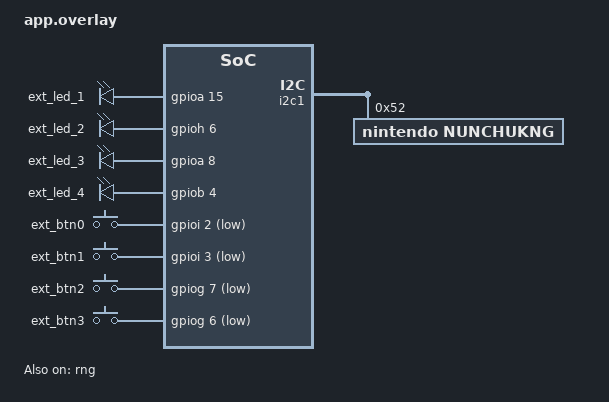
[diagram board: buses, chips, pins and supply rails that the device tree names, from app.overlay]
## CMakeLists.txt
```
cmake_minimum_required(VERSION 3.13.1)
find_package(Zephyr REQUIRED HINTS $ENV{ZEPHYR_BASE})

project(app LANGUAGES C)

target_sources(app PRIVATE
        src/main.c
        src/blinky.h src/blinky.c
        src/time.h src/time.c
        src/nunchuk.h src/nunchuk.c
        src/chat.h src/chat.c
)

target_include_directories(app PRIVATE ${ZEPHYR_BASE}/include/zephyr/portability)
```

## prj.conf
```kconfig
# Enable all debug helpers
CONFIG_DEBUG_OPTIMIZATIONS=y
CONFIG_DEBUG_THREAD_INFO=y
CONFIG_ASSERT=y
CONFIG_ASSERT_LEVEL=2
CONFIG_ASSERT_VERBOSE=y
CONFIG_INIT_STACKS=y

# Configure logging
CONFIG_LOG=y
CONFIG_LOG_INFO_COLOR_GREEN=y
CONFIG_LOG_DBG_COLOR_BLUE=y
CONFIG_LOG_TIMESTAMP_64BIT=y
CONFIG_LOG_OUTPUT_FORMAT_LINUX_TIMESTAMP=y

# Enable shell
CONFIG_SHELL=y

# Configure heap memory
CONFIG_HEAP_MEM_POOL_SIZE=180000

# Enable and configure CMSIS-RTOS v2 compatibility layer
CONFIG_CMSIS_RTOS_V2=y
CONFIG_CMSIS_V2_THREAD_MAX_STACK_SIZE=1024
CONFIG_CMSIS_V2_THREAD_DYNAMIC_STACK_SIZE=1024
CONFIG_CMSIS_V2_THREAD_DYNAMIC_MAX_COUNT=8
CONFIG_CMSIS_V2_MEM_SLAB_MAX_DYNAMIC_SIZE=8096
CONFIG_CMSIS_V2_MSGQ_MAX_DYNAMIC_SIZE=1024

# Configure multithreading
CONFIG_NUM_PREEMPT_PRIORITIES=56
CONFIG_MULTITHREADING=y
CONFIG_THREAD_NAME=y
CONFIG_THREAD_MONITOR=y
CONFIG_THREAD_STACK_INFO=y

# Enable SRTP2 stack
CONFIG_SRTP2=y

# Enable GPIOs
CONFIG_GPIO=y

# Enable L2 (Ethernet) networking.
CONFIG_NETWORKING=y
CONFIG_NET_NATIVE=y
CONFIG_NET_DRIVERS=y
CONFIG_NET_L2_ETHERNET=y
CONFIG_NET_SOCKETS=y
CONFIG_NET_SOCKETS_PACKET=y
CONFIG_ENTROPY_GENERATOR=y
CONFIG_ENTROPY_STM32_RNG=y

# Enable input drivers and nunchuck
CONFIG_INPUT=y
CONFIG_INPUT_MODE_SYNCHRONOUS=y
CONFIG_INPUT_NUNCHUKNG=y

# Enable clock API.
CONFIG_POSIX_TIMERS=y
```

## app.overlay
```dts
&i2c1 {
	nunchukng: nunchukng@52 {
		reg = <0x52>;
		compatible = "nintendo,nunchukng";
		polling-interval-ms = <0>;
	};
};

&mac {
	local-mac-address = [ 00 80 E1 44 55 02 ];
	/delete-property/ zephyr,random-mac-address;
};

&rng {
	status = "okay";
};

&ft5336 {
	status = "disabled";
};

/ {
	aliases {
		extled0 = &ext_led_1;
		extled1 = &ext_led_2;
		extled2 = &ext_led_3;
		extled3 = &ext_led_4;
	};

	leds {
		compatible = "gpio-leds";

		ext_led_1: led_1 {
			gpios = <&gpioa 15 GPIO_ACTIVE_HIGH>;
		};

		ext_led_2: led_2 {
			gpios = <&gpioh 6 GPIO_ACTIVE_HIGH>;
		};

		ext_led_3: led_3 {
			gpios = <&gpioa 8 GPIO_ACTIVE_HIGH>;
		};

		ext_led_4: led_4 {
			gpios = <&gpiob 4 GPIO_ACTIVE_HIGH>;
		};
	};

	buttons {
        compatible = "gpio-keys";

        ext_btn0: btn0 {
            gpios = <&gpioi 2 (GPIO_PULL_UP | GPIO_ACTIVE_LOW)>;
            zephyr,code = <INPUT_BTN_0>;
        };

        ext_btn1: btn1 {
            gpios = <&gpioi 3 (GPIO_PULL_UP | GPIO_ACTIVE_LOW)>;
            zephyr,code = <INPUT_BTN_1>;
        };

        ext_btn2: btn2 {
            gpios = <&gpiog 7 (GPIO_PULL_UP | GPIO_ACTIVE_LOW)>;
            zephyr,code = <INPUT_BTN_2>;
        };

        ext_btn3: btn3 {
            gpios = <&gpiog 6 (GPIO_PULL_UP | GPIO_ACTIVE_LOW)>;
            zephyr,code = <INPUT_BTN_3>;
        };
    };
};
```

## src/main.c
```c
#include <srtp2.h>
#include "blinky.h"
#include "time.h"
#include "nunchuk.h"
#include "chat.h"
#include <zephyr/net/net_if.h>

int main(void) {
	// Initialize the SRTP2 protocol stack.
	SRTP2_init(net_if_get_default());

	// Initialize all applications.
	Blinky_init();
    Time_init();
    Nunchuk_init();
	Chat_init();
	return 0;
}
```

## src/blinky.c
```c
#include "blinky.h"
#include <zephyr/drivers/gpio.h>
#include <cmsis_os2.h>
#include <zephyr/logging/log.h>

LOG_MODULE_REGISTER(blinky, LOG_LEVEL_INF);

static const struct gpio_dt_spec ld0_ = GPIO_DT_SPEC_GET(DT_ALIAS(extled0), gpios);

static void Blinky_threadFunction_(void*);

void Blinky_init() {
    // Check if the GPIO is ready.
    if (!gpio_is_ready_dt(&ld0_)) {
        LOG_ERR("GPIO not ready");
        return;
    }

    // Configure the GPIO.
    gpio_pin_configure_dt(&ld0_, GPIO_OUTPUT_ACTIVE);

    // Start the thread.
    osThreadAttr_t blinkyThreadAttributes = {
        .name = "Blinky",
        .priority = osPriorityBelowNormal
    };
    if (osThreadNew(Blinky_threadFunction_, &blinkyThreadAttributes, NULL) <= 0) {
        LOG_ERR("failed to create thread");
    }

    LOG_INF("application started");
}

static void Blinky_threadFunction_(void*) {
    // Get the tick frequency.
    uint32_t freq = osKernelGetTickFreq();

    // Toggle the LED with a frequency of 2 Hz.
    while (true) {
        gpio_pin_toggle_dt(&ld0_);
        osDelay(250 * freq / 1000);
    }
}
```

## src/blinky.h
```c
#pragma once

/**
 * @brief Initializes the Blinky application.
 *
 * This function configures the GPIO for the LED, starts the Blinky thread, and logs the initialization status.
 *
 * It first checks if the GPIO device tree specification is ready. If the GPIO is not ready, an error is logged, and the function terminates without further
 * execution.
 *
 * After confirming the GPIO is ready, it configures the GPIO pin as an active output. Then, it creates a thread to handle the Blinky behavior using the
 * specified thread name and priority. If the thread creation fails, an error is logged.
 *
 * Upon successful initialization, a log message indicates that the application has started.
 */
void Blinky_init();
```

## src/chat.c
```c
#include "chat.h"
#include <srtp2.h>
#include <stdlib.h>
#include <zephyr/shell/shell.h>
#include <zephyr/logging/log.h>
#include <zephyr/drivers/gpio.h>

LOG_MODULE_REGISTER(chat, LOG_LEVEL_INF);

static const struct gpio_dt_spec ld3_ = GPIO_DT_SPEC_GET(DT_ALIAS(extled3), gpios);

static const uint16_t SAPI_ = 1;
enum {
    MAX_MESSAGE_SIZE_ = 512,
};

static int Chat_command_(const struct shell* sh, size_t argc, char** argv);
static void Chat_messageConfirmation_(SRTP2_Status_t status, SRTP2_CallbackContext_t context);
static void Chat_messageIndication_(SRTP2_MsgAddress_t sourceAddress, SRTP2_MsgSAPI_t destinationSapi, SRTP2_MsgSAPI_t sourceSapi,
    SRTP2_MsgPayloadPointer_t payload, SRTP2_MsgPayloadLength_t length, SRTP2_CallbackContext_t context);

void Chat_init() {
    // Check if the GPIO is ready.
    if (!gpio_is_ready_dt(&ld3_)) {
        LOG_ERR("GPIO not ready");
        return;
    }

    // Configure the GPIO.
    gpio_pin_configure_dt(&ld3_, GPIO_OUTPUT_ACTIVE);
    gpio_pin_set_dt(&ld3_, 0);

    // Register chat message listener.
    if (SRTP2_msgListenRequest(SAPI_, Chat_messageIndication_, NULL) != SRTP2_OK) {
        LOG_ERR("failed to register message listener");
    }

    // Register shell command "chat".
    SHELL_CMD_ARG_REGISTER(chat, NULL, "Send a chat message over SRTP2.\n" "Usage: chat <mac> <\"Text Message\">", Chat_command_, 3, 3);

    LOG_INF("application started");
}

static int Chat_command_(const struct shell* sh, size_t argc, char** argv) {
    // Check that we have exactly 3 arguments, the command, the destination MAC address and the message.
    if (argc != 3) {
        shell_error(sh, "Usage: chat <mac> <\"Text Message\">");
        return -EINVAL;
    }

    // Parse the MAC Address
    uint8_t mac[6];
    if (sscanf(argv[1], "%hhx:%hhx:%hhx:%hhx:%hhx:%hhx",
        &mac[0], &mac[1], &mac[2], &mac[3], &mac[4], &mac[5]) != 6) {
        shell_error(sh, "Invalid MAC address format. Please use XX:XX:XX:XX:XX:XX");
        return -EINVAL;
    }

    // Send message.
    SRTP2_msgDataRequest(mac, SAPI_, SAPI_, argv[2], strlen(argv[2]), Chat_messageConfirmation_, NULL);

    return 0;
}

static void Chat_messageConfirmation_(SRTP2_Status_t status, SRTP2_CallbackContext_t context) {
    if (status == SRTP2_OK) {
        LOG_INF("message sent successfully");
    }
    else {
        LOG_ERR("failed to send message");
    }
}

static void Chat_messageIndication_(SRTP2_MsgAddress_t sourceAddress, SRTP2_MsgSAPI_t destinationSapi, SRTP2_MsgSAPI_t sourceSapi,
    SRTP2_MsgPayloadPointer_t payload, SRTP2_MsgPayloadLength_t length, SRTP2_CallbackContext_t context) {

    // Copy message to a null-terminated buffer.
    static char buffer[MAX_MESSAGE_SIZE_ + 1];
    memcpy(buffer, payload, length);
    buffer[length] = '\0';

    // Notify user that the message was received.
    LOG_INF("Received Message from %d: %s", sourceAddress[5], buffer);

    // Handle LED commands.
    if (strncmp(payload, "led on", length) == 0) {
        gpio_pin_set_dt(&ld3_, true);
    }
    else if (strncmp(payload, "led off", length) == 0) {
        gpio_pin_set_dt(&ld3_, false);
    }
    else if (strncmp(payload, "led toggle", length) == 0) {
        gpio_pin_toggle_dt(&ld3_);
    }
}
```

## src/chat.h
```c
#pragma once

/**
 * @brief Initializes the Chat module for the application.
 *
 * This function sets up the Chat module by performing the following steps:
 * - Checks if the GPIO associated with the external LED (ld3) is ready for use.
 * - Configures the GPIO pin as an active output and initializes it to a low state.
 * - Registers a callback function `Chat_messageIndication` to handle incoming SRTP2 messages on the specified SAPI.
 * - Registers a shell command named "chat" that allows users to send a chat message over the SRTP2 protocol. The command must be invoked with specific
 *   arguments.
 *
 * If any initialization step fails (e.g., GPIO is not ready, message listener registration  fails), the corresponding error is logged, and initialization
 * stops.
 *
 * To send a message, you can use the `chat` shell command. The syntax is `char <mac> <"Text message">`. For example you can send the message "Hello World!" to
 * all nodes on the network using `char ff:ff:ff:ff:ff:ff "Hello World!"`.
 *
 * Additionally, the chat application can be used to control LD4 on the HEI Discovery board. Sending the command `led on` will turn the LED on, sending
 * `led off` will turn the LED off and sending `led toggle` will toggle the LED state.
 */
void Chat_init();
```

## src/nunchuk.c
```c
#include "nunchuk.h"
#include <srtp2.h>
#include <zephyr/input/input.h>
#include <zephyr/logging/log.h>
#include <input_nunchuk.h>

LOG_MODULE_REGISTER(nunchuk, LOG_LEVEL_INF);

#pragma pack(push, 1)
typedef struct {
    uint8_t x;
    uint8_t y;
} Nunchuk_JoystickPosition_t;

typedef struct {
    uint16_t x;
    uint16_t y;
    uint16_t z;
} Nunchuk_Acceleration_t;
#pragma pack(pop)

static const struct device* nunchukDevice_ = DEVICE_DT_GET(DT_NODELABEL(nunchukng));

static bool ready_ = false;
static Nunchuk_JoystickPosition_t joystickPosition_;
static Nunchuk_Acceleration_t acceleration_;

enum {
    NUNCHUK_JOYSTICK_SV_GROUP_ = 0,
    NUNCHUK_ACCELERATION_SV_GROUP_ = 1,
    EV_BUTTON_PRESSED_ = 0,
    EV_BUTTON_RELEASED_ = 1,
    NUNCHUK_Z_BUTTON_ID_ = 0,
    NUNCHUK_C_BUTTON_ID_ = 1,
    BTN0_ID_ = 2,
    BTN1_ID_ = 3,
    BTN2_ID_ = 4,
    BTN3_ID_ = 5,
    INVALID_BUTTON_ID = 0xFF
};

static void Nunchuk_syncIndication_(SRTP2_NetworkID_t, SRTP2_NetworkTime_t, SRTP2_CycleInterval_t, SRTP2_CallbackContext_t);

void Nunchuk_init() {
    // Initialize
    joystickPosition_.x = 127;
    joystickPosition_.y = 127;
    acceleration_.x = 0;
    acceleration_.y = 0;
    acceleration_.z = 0;

    // Register for synchronization.
    if (SRTP2_syncRequest(Nunchuk_syncIndication_, NULL) != SRTP2_OK) {
        LOG_ERR("failed to register sync request");
        return;
    }

    // Register to publish sampled values for Nunchuk joystick position.
    if (SRTP2_svPublishRequest(NUNCHUK_JOYSTICK_SV_GROUP_, sizeof(Nunchuk_JoystickPosition_t)) != SRTP2_OK) {
        LOG_ERR("failed to register SV group for nunchuk joystick position");
        return;
    }

    // Register to publish sampled values for Nunchuk acceleration.
    if (SRTP2_svPublishRequest(NUNCHUK_ACCELERATION_SV_GROUP_, sizeof(Nunchuk_Acceleration_t)) != SRTP2_OK) {
        LOG_ERR("failed to register SV group for nunchuk acceleration");
        return;
    }

    ready_ = true;
    LOG_INF("application started");
}

void Nunchuk_onInputEvent_(struct input_event* evt, void*) {
    // Ignore any input as long as the application is not ready.
    if (!ready_) return;

    // Handle the different event types.
    switch (evt->type) {
    case INPUT_EV_KEY: {
        uint8_t buttonID = 0;
        switch (evt->code) {
        case INPUT_BTN_Z:
            buttonID = NUNCHUK_Z_BUTTON_ID_;
            break;

        case INPUT_BTN_C:
            buttonID = NUNCHUK_C_BUTTON_ID_;
            break;

        case INPUT_BTN_0:
            buttonID = BTN0_ID_;
            break;

        case INPUT_BTN_1:
            buttonID = BTN1_ID_;
            break;

        case INPUT_BTN_2:
            buttonID = BTN2_ID_;
            break;

        case INPUT_BTN_3:
            buttonID = BTN3_ID_;
            break;

        default:
            buttonID = INVALID_BUTTON_ID;
            LOG_ERR("unknown button event");
        }

        if (buttonID != INVALID_BUTTON_ID) {
            SRTP2_evPublishRequest(evt->value ? EV_BUTTON_PRESSED_ : EV_BUTTON_RELEASED_, &buttonID, 1);
        }
        break;
    }

    case INPUT_EV_ABS:
        switch (evt->code) {
        case INPUT_ABS_X:
            LOG_DBG("X = %u", evt->value);
            joystickPosition_.x = evt->value;
            SRTP2_svPublishUpdate(NUNCHUK_JOYSTICK_SV_GROUP_, &joystickPosition_, sizeof(joystickPosition_));
            break;

        case INPUT_ABS_Y:
            LOG_DBG("Y = %u", evt->value);
            joystickPosition_.y = evt->value;
            SRTP2_svPublishUpdate(NUNCHUK_JOYSTICK_SV_GROUP_, &joystickPosition_, sizeof(joystickPosition_));
            break;

        default:
            LOG_ERR("unknown joystick axis");
        }
        break;

    case INPUT_EV_DEVICE:
        switch (evt->code) {
        case INPUT_NUNCHUK_ACCEL_X:
            acceleration_.x = evt->value;
            break;

        case INPUT_NUNCHUK_ACCEL_Y:
            acceleration_.y = evt->value;
            break;

        case INPUT_NUNCHUK_ACCEL_Z:
            acceleration_.z = evt->value;
            SRTP2_svPublishUpdate(NUNCHUK_ACCELERATION_SV_GROUP_, &acceleration_, sizeof(acceleration_));
            break;
        }
        break;

    default:
        LOG_ERR("unknown input event");
        break;
    }
}

static void Nunchuk_syncIndication_(SRTP2_NetworkID_t, SRTP2_NetworkTime_t, SRTP2_CycleInterval_t, SRTP2_CallbackContext_t) {
    // Trigger the readout of the Nunchuk input device.
    nunchuk_read(nunchukDevice_);
}

// Register global input callback.
INPUT_CALLBACK_DEFINE(NULL, Nunchuk_onInputEvent_, NULL);
```

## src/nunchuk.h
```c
#pragma once

/**
 * @brief Initializes the Nunchuk application module.
 *
 * This function performs the following operations to initialize the Nunchuk module:
 * - Sets the default state of the joystick position to the center (127, 127).
 * - Resets the acceleration values to zero for all axes.
 * - Registers a synchronization request callback using the SRTP2_syncRequest() function.
 * - Publishes sampled values (SV) groups for joystick position (0) and acceleration (1) using the SRTP2_svPublishRequest() function.
 * - Sets the `ready` flag to true, indicating that the application has initialized successfully.
 *
 * In case of any failure during the initialization process (e.g., failing to register a sync request or publish SV groups), an error is logged, and
 * the function returns without completing initialization.
 */
void Nunchuk_init();
```

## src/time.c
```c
#include "time.h"
#include <srtp2.h>
#include <zephyr/drivers/gpio.h>
#include <cmsis_os2.h>
#include <zephyr/logging/log.h>
#include <time.h>
#include <zephyr/logging/log_ctrl.h>

LOG_MODULE_REGISTER(time, LOG_LEVEL_INF);

static const struct gpio_dt_spec ld1_ = GPIO_DT_SPEC_GET(DT_ALIAS(extled1), gpios);
static const struct gpio_dt_spec ld2_ = GPIO_DT_SPEC_GET(DT_ALIAS(extled2), gpios);

static bool ledState_ = false;

static void Time_syncIndication_(SRTP2_NetworkID_t, SRTP2_NetworkTime_t, SRTP2_CycleInterval_t, SRTP2_CallbackContext_t);
static log_timestamp_t Time_getSystemTime_();

void Time_init() {
    // Check if the GPIO is ready.
    if (!gpio_is_ready_dt(&ld1_)) {
        LOG_ERR("GPIO not ready");
        return;
    }

    // Configure the GPIO.
    gpio_pin_configure_dt(&ld1_, GPIO_OUTPUT_ACTIVE);
    gpio_pin_configure_dt(&ld2_, GPIO_OUTPUT_ACTIVE);

    gpio_pin_set_dt(&ld1_, 0);
    gpio_pin_set_dt(&ld2_, 0);

    // Register sync service at SRTP2 stack.
    SRTP2_Status_t status = SRTP2_syncRequest(Time_syncIndication_, NULL);
    if (status != SRTP2_OK) {
        LOG_ERR("sync request failed");
    }

    // Register custom log time format function.
    log_set_timestamp_func(Time_getSystemTime_, 1000);

    LOG_INF("application started.");
}

static void Time_syncIndication_(SRTP2_NetworkID_t networkID, SRTP2_NetworkTime_t networkTime, SRTP2_CycleInterval_t cycleInterval,
    SRTP2_CallbackContext_t context) {

    // Check drift and update system clock if required.
    struct timespec ts;
    if (sys_clock_gettime(SYS_CLOCK_REALTIME, &ts) == 0) {
        SRTP2_NetworkTime_t currentTime = ts.tv_sec * 1000 + ts.tv_nsec / 1000000;
        int64_t delta = ((int64_t)currentTime - (int64_t)networkTime);
        if (delta > 10 || delta < -10) {
            if (delta > -1000000000) {
                int32_t deltaPrint = delta;
                LOG_WRN("network time drift is %ims, updating system time", deltaPrint);
            }
            ts.tv_sec = networkTime / 1000;
            ts.tv_nsec = (networkTime % 1000) * 1000000;
            if (sys_clock_settime(SYS_CLOCK_REALTIME, &ts) != 0) {
                LOG_ERR("failed to update system time");
            }
        }
    } else {
        LOG_ERR("failed to get system time");
    }

    // Toggle LD1 each sync event.
    gpio_pin_toggle_dt(&ld1_);

    // Turn on LD2 each 10 seconds for 1 second.
    bool newLedState = (networkTime / 1000) % 10 == 0;
    if (newLedState != ledState_) {
        ledState_ = newLedState;
        gpio_pin_set_dt(&ld2_, ledState_);
    }
}

static log_timestamp_t Time_getSystemTime_() {
    struct timespec ts;

    // Fetch the time using the native API
    if (sys_clock_gettime(SYS_CLOCK_REALTIME, &ts) == 0) {
        // Convert to milliseconds
        return ((uint64_t)ts.tv_sec * 1000) + (ts.tv_nsec / 1000000);
    }
    return k_uptime_get();
}
```

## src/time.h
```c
#pragma once

/**
 * @brief Initializes the Time module, configures GPIO pins, and synchronizes with the SRTP2 network.
 *
 * This function performs the following tasks:
 * - Checks if the GPIO pins are ready for usage. If not, logs an error and exits early.
 * - Configures two GPIO pins (ld1 and ld2) as active-output pins.
 * - Sets the initial state of the GPIO pins to LOW.
 * - Sends a synchronization request to the SRTP2 network stack using the provided syncIndication callback.
 * - Logs an error if the synchronization request fails.
 * - Logs a message indicating that the application has started successfully.
 */
void Time_init();
```
